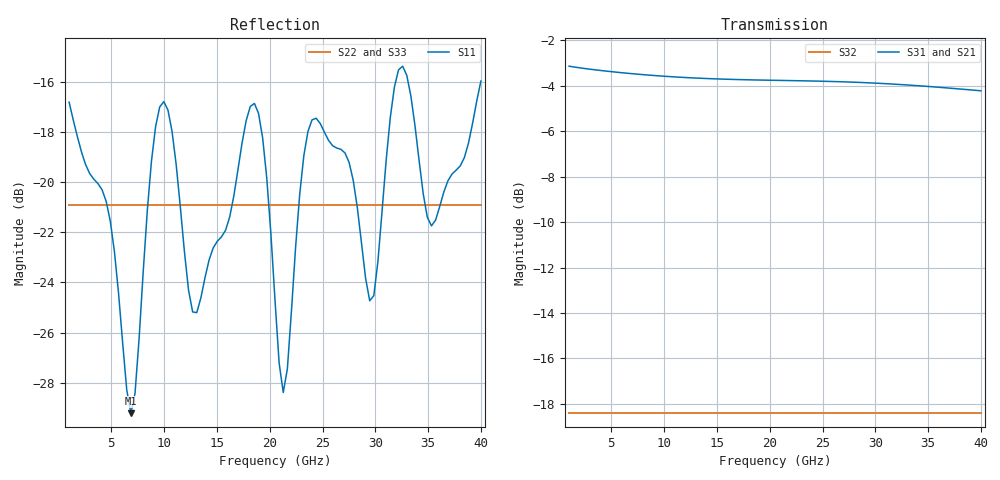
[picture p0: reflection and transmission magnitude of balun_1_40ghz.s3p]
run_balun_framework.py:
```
"""
run_balun_framework.py - Master Pipeline for Wideband (1 - 40 GHz) Passive Balun Design
Coordinates:
 1. Substrate analysis & technology selection (Rogers RO4350B, RO4003C, RT/duroid 5880).
 2. Ultra-wideband physical synthesis & full 3-port S-parameter calculation.
 3. Evaluation of Insertion Loss, Amplitude/Phase Imbalance, Sds21, Sdd22, and CMRR.
 4. Touchstone (.s3p) export via scikit-rf.
 5. GDSII Layout synthesis using gdstk & Shapely polygon merging.
 6. Inverse-designed pixelated EM structure synthesis (GA + deep-learning framework from papers).
 7. Keysight ADS Momentum/RFPro integration bundle generation.
"""

import os
import sys
import numpy as np
import matplotlib.pyplot as plt

# Ensure current directory is in Python path
sys.path.insert(0, os.path.dirname(os.path.abspath(__file__)))

from pcb_stackup import AVAILABLE_SUBSTRATES, print_substrate_comparison
from balun_metrics import BalunMetrics
from balun_synthesis import BroadbandDistributedBalun, PixelatedBalunOptimizer
from layout_generator import (
    generate_broadband_balun_layout,
    generate_pixelated_balun_layout,
    generate_hyperlabs_balun_board_layout
)
from ads_export import generate_ads_layermap, generate_ads_substrate, generate_ads_ael_script


def run_pipeline():
    print("=" * 80)
    print("  PASSIVE BALUN SYNTHESIS & INVERSE DESIGN FRAMEWORK (1 GHz - 40 GHz)")
    print("  Based on Deep Learning & Generative AI EM Synthesis Methodologies")
    print("=" * 80)

    # -------------------------------------------------------------
    # Step 1: Substrate Comparison & Technology Selection
    # -------------------------------------------------------------
    print("\n>>> STEP 1: Evaluating PCB Substrate Technologies...")
    print_substrate_comparison(z0_target=50.0)

    # Selected primary substrate: Rogers RO4350B (as used in Princeton Dall-EM paper)
    tech = AVAILABLE_SUBSTRATES["Rogers_RO4350B"]
    print(f"\n[Selected Substrate]: {tech.name}")
    print(f"  Dielectric Permittivity (er): {tech.er}")
    print(f"  Loss Tangent (tand)         : {tech.tand}")
    print(f"  Substrate Height (h)        : {tech.h_mm:.4f} mm ({tech.h_mil:.2f} mil)")
    print(f"  Copper Cladding (t)         : {tech.t_um:.1f} um (1 oz rolled copper)")

    # -------------------------------------------------------------
    # Step 2: Ultra-Wideband (1-40 GHz) Balun Physical Synthesis
    # -------------------------------------------------------------
    print("\n>>> STEP 2: Synthesizing Broadband Balun (1.0 to 40.0 GHz)...")
    freqs = np.linspace(1.0e9, 40.0e9, 101)  # 101 frequency points across 1-40 GHz
    balun_model = BroadbandDistributedBalun(tech=tech, z0_in=50.0, z0_out_diff=100.0)
    s_params = balun_model.evaluate_s_params(freqs)

    # -------------------------------------------------------------
    # Step 3: Key Performance Metrics & Mixed-Mode Analysis
    # -------------------------------------------------------------
    print("\n>>> STEP 3: Computing Key RF Metrics, Mixed-Mode S-parameters & CMRR...")
    metrics = BalunMetrics(frequencies=freqs, s_params=s_params, z0=50.0)
    metrics.print_report(title="Ultra-Wideband 1-40 GHz Balun Performance")

    # Plot metrics
    perf_plot_path = "balun_performance_1_40ghz.png"
    metrics.plot_performance(save_path=perf_plot_path)

    # Export Touchstone .s3p file
    s3p_path = "balun_1_40ghz.s3p"
    metrics.write_touchstone(s3p_path)

    # -------------------------------------------------------------
    # Step 4: GDSII PCB Layout Generation
    # -------------------------------------------------------------
    print("\n>>> STEP 4: Generating Broadband PCB Layout (GDSII & Visual Preview)...")
    gds_broadband_path = "broadband_balun_1_40ghz.gds"
    png_broadband_path = "broadband_balun_layout.png"
    cell_bb, total_w, total_h = generate_broadband_balun_layout(
        tech=tech,
        f_min_hz=1.0e9,
        f_max_hz=40.0e9,
        feed_length_mm=1.5,
        output_gds_path=gds_broadband_path,
        output_png_path=png_broadband_path
    )
    print(f"[Broadband Layout Dimensions]: {total_w:.2f} mm x {total_h:.2f} mm")

    # Generate Hyperlabs-Style Test Board (with SMA / 2.92mm connector pitch & GCPW launch)
    print("\n>>> STEP 4b: Generating Hyperlabs-Style Test Board Layout (Edge-Launch SMA / 2.92mm)...")
    gds_hyperlabs_path = "hyperlabs_balun_40ghz.gds"
    png_hyperlabs_path = "hyperlabs_balun_layout.png"
    cell_hl, hl_w, hl_h = generate_hyperlabs_balun_board_layout(
        tech=tech,
        conn_pitch_mm=9.525,  # 0.375" standard edge-launch connector clearance
        launch_len_mm=2.5,
        bend_len_mm=6.0,
        output_gds_path=gds_hyperlabs_path,
        output_png_path=png_hyperlabs_path
    )
    print(f"[Hyperlabs Board Dimensions]: {hl_w:.2f} mm x {hl_h:.2f} mm (Pitch = 9.525 mm / 0.375\")")

    # -------------------------------------------------------------
    # Step 5: Pixelated Inverse-Design Balun (Paper Methodology)
    # -------------------------------------------------------------
    print("\n>>> STEP 5: Running Pixelated Inverse Design GA Optimization (Papers Flow)...")
    print("  Discretizing into 18x18 grid with multi-objective fitness & surrogate...")
    opt = PixelatedBalunOptimizer(
        grid_size=18,
        freq_points=21,
        f_min=1.0e9,
        f_max=40.0e9,
        pop_size=48,
        generations=30,
        tournament_size=6,
        mutation_rate=0.08,
        elite_count=4,
        enforce_symmetry=True
    )
    best_grid, best_cost = opt.optimize(verbose=True)

    gds_pixel_path = "pixelated_balun.gds"
    png_pixel_path = "pixelated_balun_layout.png"
    cell_pix, pix_w, pix_h = generate_pixelated_balun_layout(
        grid=best_grid,
        tech=tech,
        pixel_size_um=100.0,
        overlap_ratio=0.20,
        conn_pitch_mm=9.525,
        launch_len_mm=2.5,
        bend_len_mm=5.0,
        cell_name="PIXELATED_BALUN",
        output_gds_path=gds_pixel_path,
        output_png_path=png_pixel_path
    )
    print(f"[Pixelated Balun with GND & SMA Dimensions]: {pix_w:.2f} mm x {pix_h:.2f} mm (Pitch = 9.525 mm / 0.375\")")

    # -------------------------------------------------------------
    # Step 6: Keysight ADS Integration Bundle Generation
    # -------------------------------------------------------------
    print("\n>>> STEP 6: Generating Keysight ADS Integration Bundle...")
    generate_ads_layermap(filepath="ads_balun.layermap")
    generate_ads_substrate(tech=tech, filepath="ads_rogers_ro4350b.subst")
    generate_ads_ael_script(
        gds_filename=gds_broadband_path,
        cell_name="BROADBAND_BALUN",
        tech=tech,
        s3p_filename=s3p_path,
        filepath="import_and_simulate_balun.ael"
    )

    print("\n" + "=" * 80)
    print("  FRAMEWORK EXECUTION COMPLETED SUCCESSFULLY!")
    print("=" * 80)
    print("Generated Artifacts in Workspace:")
    print(f"  1. RF Performance Plot    : {os.path.abspath(perf_plot_path)}")
    print(f"  2. Touchstone S-Parameters: {os.path.abspath(s3p_path)}")
    print(f"  3. Broadband Balun GDSII  : {os.path.abspath(gds_broadband_path)}")
    print(f"  4. Broadband Balun Preview: {os.path.abspath(png_broadband_path)}")
    print(f"  5. Hyperlabs Balun GDSII  : {os.path.abspath(gds_hyperlabs_path)}")
    print(f"  6. Hyperlabs Balun Preview: {os.path.abspath(png_hyperlabs_path)}")
    print(f"  7. Pixelated Balun GDSII  : {os.path.abspath(gds_pixel_path)}")
    print(f"  8. Pixelated Balun Preview: {os.path.abspath(png_pixel_path)}")
    print(f"  9. ADS GDS Layer Map      : {os.path.abspath('ads_balun.layermap')}")
    print(f"  10. ADS Substrate (.subst): {os.path.abspath('ads_rogers_ro4350b.subst')}")
    print(f"  11. ADS Automated Script  : {os.path.abspath('import_and_simulate_balun.ael')}")
    print("=" * 80)


if __name__ == "__main__":
    run_pipeline()
```
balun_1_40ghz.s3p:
! Created with skrf 2.2.0 (http://scikit-rf.org).
# Hz S RI R 50.0
!freq ReS11 ImS11 ReS12 ImS12 ReS13 ImS13
! ReS21 ImS21 ReS22 ImS22 ReS23 ImS23
! ReS31 ImS31 ReS32 ImS32 ReS33 ImS33
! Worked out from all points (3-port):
!   101 points, 1 GHz to 40 GHz, reference 50 ohm
!   strongest paths, dB at 1 GHz, 10.75 GHz, 20.5 GHz, 30.25 GHz, 40 GHz:
!     S31: -3.1, -3.6, -3.8, -3.9, -4.2
!     S21: -3.1, -3.4, -3.8, -4.1, -4.2
!     S32: -18.4, -18.4, -18.4, -18.4, -18.4
!   lowest |S11| = -29.2 dB at 6.85 GHz (marker M1), VSWR 1.07, Z = 46.7 - j0.495 ohm
!   |S11| at or under -10 dB: start of sweep to end of sweep
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1e9  0.1442 0.000326  0.6285 -0.302  -0.6297 0.2995
     0.6285 -0.302  0.0872 -0.0222  0.1117 -0.0438
     -0.6297 0.2995  0.1117 -0.0438  0.0873 -0.0218
6.85e9  -0.0342 -0.0053  -0.6852 -0.0016  0.6713 0.019
        -0.6852 -0.0016  -0.0155 -0.0887  -0.1038 -0.0602
        0.6713 0.019  -0.1038 -0.0602  -0.0132 -0.089
1.309e10  0.0549 -0.0029  0.6659 0.0876  -0.6464 -0.1143
          0.6659 0.0876  -0.0866 0.0246  0.0483 0.1098
          -0.6464 -0.1143  0.0483 0.1098  -0.0876 0.0207
1.972e10  -0.0853 0.0557  -0.6513 0.0183  0.6493 0.0168
          -0.6513 0.0183  0.0462 0.0772  -0.00281 -0.12
          0.6493 0.0168  -0.00281 -0.12  0.042 0.0796
4e10  -0.1344 -0.0847  0.3891 -0.477  -0.399 0.4687
      0.3891 -0.477  -0.0028 0.09  -0.0887 0.0808
      -0.399 0.4687  -0.0887 0.0808  -0.00468 0.0899
